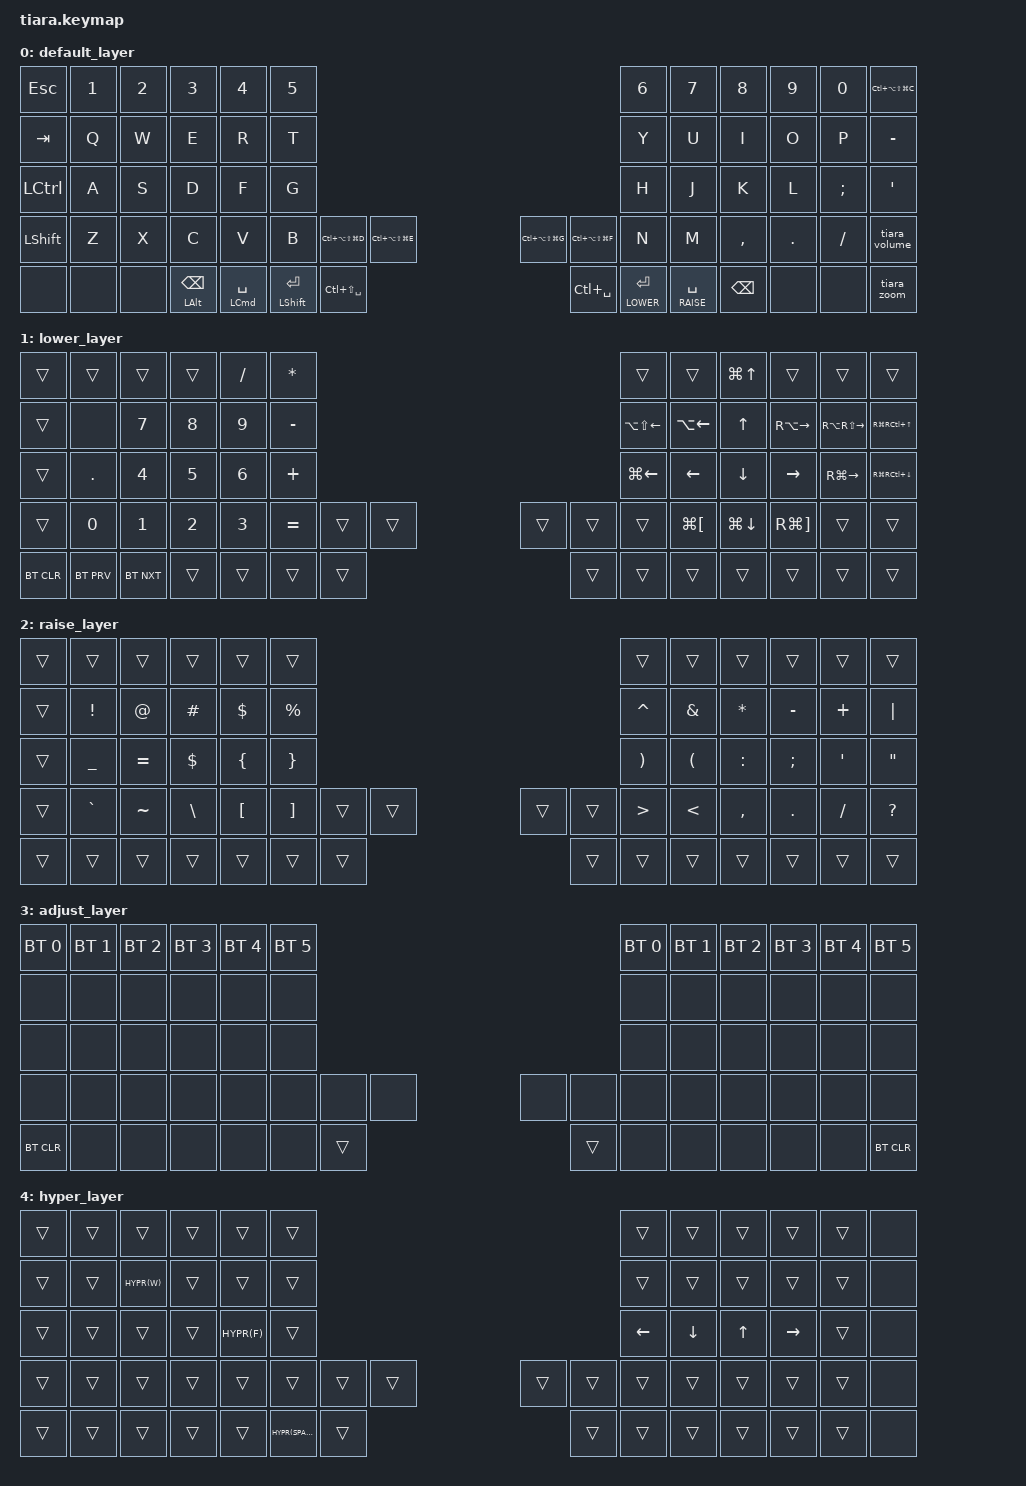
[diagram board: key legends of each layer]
/*
 * Copyright (c) 2020 The ZMK Contributors
 *
 * SPDX-License-Identifier: MIT
 */

#include <behaviors.dtsi>
#include <dt-bindings/zmk/keys.h>
#include <dt-bindings/zmk/outputs.h>
#include <dt-bindings/zmk/bt.h>

#define DEFAULT 0
#define LOWER   1
#define RAISE   2
#define ADJUST  3
#define HYPER   4

#define HYPR(KC) LC(LS(LA(LG(KC))))

/ {

        conditional_layers {
                compatible = "zmk,conditional-layers";

                tri_layer {
                        if-layers  = <1 2>;
                        then-layer = <3>;
                };
        };


        behaviors {
            tiara_zoom: tiara_zoom_in_and_out {
                compatible = "zmk,behavior-mod-morph";
                label = "TIARA_ZOOM_IN_AND_OUT";
                #binding-cells = <0>;
                bindings = <&kp LG(EQUAL)>, <&kp LG(MINUS)>;
                mods = <(MOD_LGUI|MOD_RGUI)>;
            };
            tiara_volume: tiara_volume_in_and_out {
                compatible = "zmk,behavior-mod-morph";
                label = "TIARA_VOLUME_IN_AND_OUT";
                #binding-cells = <0>;
                bindings = <&kp LC(LA(LS(LG(A))))>, <&kp LC(LA(LS(LG(B))))>;
                mods = <(MOD_LGUI|MOD_RGUI)>;
            };
        };

        keymap {
                compatible = "zmk,keymap";

                default_layer {
/* QWERTY
 * .----------------------------------------------------------------------------------------------------------------------------------.
 * | ESC  |   1  |   2  |   3  |   4  |   5  |                                              |   6  |   7  |   8  |   9  |   0  | Pause|
 * |-------------+------+------+------+------+------+------+-------+-+-------+-------+------+------+------+------+------+------+------|
 * | Tab  |   Q  |   W  |   E  |   R  |   T  |                                              |   Y  |   U  |   I  |   O  |   P  |  -   |
 * |-------------+------+------+------+------+------+------+-------+-+-------+-------+------+------+------+------+------+------+------|
 * | Ctrl |   A  |   S  |   D  |   F  |   G  |                                              |   H  |   J  |   K  |   L  |   ;  |  '   |
 * |-------------+------+------+------+------+------+------+-------+-+-------+-------+------+------+------+------+------+------+------|
 * | Zoom |   Z  |   X  |   C  |   V  |   B  |      | Act1 | Act2  | | Act4  | Act3  |      |   N  |   M  |   ,  |   .  |   /  | Vol  |
 * |-------------+------+------+------+------+------+------+-------+-+-------+-------+------+------+------+------+------+------+------|
 * |      |      |      |             |      | CMD  | Shift| Side  | |       | Lower | Raise|      |             |      |      |      |
 * |      |      |      |             |      | Space| Enter| Alfred| | Alfred| Enter | Space|      |             |      |      |      |
 * .----------------------------------------------------------------------------------------------------------------------------------.
 */
                        bindings = <
&kp ESC    &kp N1  &kp N2  &kp N3  &kp N4  &kp N5                                                                                                               &kp N6  &kp N7  &kp N8     &kp N9   &kp N0     &kp LC(LA(LS(LG(C))))
&kp TAB    &kp Q   &kp W   &kp E   &kp R   &kp T                                                                                                                &kp Y   &kp U   &kp I      &kp O    &kp P      &kp MINUS
&kp LCTRL  &kp A   &kp S   &kp D   &kp F   &kp G                                                                                                                &kp H   &kp J   &kp K      &kp L    &kp SEMI   &kp SQT
&kp LSHFT  &kp Z   &kp X   &kp C   &kp V   &kp B                   &kp LC(LA(LS(LG(D))))  &kp LC(LA(LS(LG(E))))   &kp LC(LA(LS(LG(G))))  &kp LC(LA(LS(LG(F))))  &kp N   &kp M   &kp COMMA  &kp DOT  &kp SLASH  &tiara_volume
&none      &none   &none   &mt LALT BSPC           &mt LCMD SPACE  &mt LSHFT ENTER        &kp LC(LS(SPACE))       &kp LC(SPACE)          &lt LOWER ENTER        &lt RAISE SPACE &kp BSPC   &none    &none      &tiara_zoom
                        >;
                };

                lower_layer {
/* QWERTY
 * .----------------------------------------------------------------------------------------------------------------------------------.
 * |      |      |      |      |   /  |   *  |                                              |      |      | Top  |      |      |      |
 * |      |      |      |      |      |      |                                              |      |      |      |      |      |      |
 * |-------------+------+------+------+------+------+------+-------+-+-------+-------+------+------+------+------+------+------+------|
 * |      |      |   7  |   8  |   9  |   -  |                                              |HLWord| Word | Up   | Word |HLWord|MVLine|
 * |      |      |      |      |      |      |                                              | Left | Left |      | Right| Right| Up   |
 * |-------------+------+------+------+------+------+------+-------+-+-------+-------+------+------+------+------+------+------+------|
 * |      |   .  |   4  |   5  |   6  |   +  |                                              | Line | Right| Down | Left | Line |MVLine|
 * |      |      |      |      |      |      |                                              | Begin|      |      |      | End  | Down |
 * |-------------+------+------+------+------+------+------+-------+-+-------+-------+------+------+------+------+------+------+------|
 * |      |   0  |   1  |   2  |   3  |   =  |      |      |       | |       |       |      |      |MVLine|Bottom|MVLine|      |      |
 * |      |      |      |      |      |      |                                              |      | Left |      | Right|      |      |
 * |-------------+------+------+------+------+------+------+-------+-+-------+-------+------+------+------+------+------+------+------|
 * |      |      |      |      |             |      |      |       | |       |       |      |             |      |      |      |      |
 * .----------------------------------------------------------------------------------------------------------------------------------.
 */
                        bindings = <
&trans      &trans      &trans      &trans  &kp FSLH  &kp ASTRK                                                    &trans            &trans        &kp LG(UP)    &trans        &trans            &trans
&trans      &none       &kp N7      &kp N8  &kp N9    &kp MINUS                                                    &kp LA(LS(LEFT))  &kp LA(LEFT)  &kp UP        &kp RA(RIGHT)  &kp RA(RS(RIGHT))  &kp RG(RC(UP))
&trans      &kp DOT     &kp N4      &kp N5  &kp N6    &kp PLUS                                                     &kp LG(LEFT)      &kp LEFT      &kp DOWN      &kp RIGHT     &kp RG(RIGHT)     &kp RG(RC(DOWN))
&trans      &kp N0      &kp N1      &kp N2  &kp N3    &kp EQUAL          &trans  &trans    &trans  &trans          &trans            &kp LG(LBKT)  &kp LG(DOWN)  &kp RG(RBKT)  &trans            &trans
&bt BT_CLR  &bt BT_PRV  &bt BT_NXT  &trans                       &trans  &trans  &trans    &trans  &trans  &trans                                  &trans        &trans        &trans            &trans
                        >;
                };

                raise_layer {
/* QWERTY
 * .----------------------------------------------------------------------------------------------------------------------------------.
 * |      |      |      |      |      |      |                                              |      |      |      |      |      |      |
 * |      |      |      |      |      |      |                                              |      |      |      |      |      |      |
 * |-------------+------+------+------+------+------+------+-------+-+-------+-------+------+------+------+------+------+------+------|
 * |      |   !  |   @  |   #  |   $  |   %  |                                              |   ^  |   &  |   *  |   -  |   +  |   |  |
 * |      |      |      |      |      |      |                                              |      |      |      |      |      |      |
 * |-------------+------+------+------+------+------+------+-------+-+-------+-------+------+------+------+------+------+------+------|
 * |      |   _  |   =  |   $  |   {  |   }  |                                              |   )  |   (  |   :  |  ;   |   '  |   "  |
 * |      |      |      |      |      |      |                                              |      |      |      |      |      |      |
 * |-------------+------+------+------+------+------+------+-------+-+-------+-------+------+------+------+------+------+------+------|
 * |      |   `  |   ~  |   \  |   [  |   ]  |      |      |       | |       |       |      |   >  |   <  |   ,  |   .  |   /  |   ?  |
 * |      |      |      |      |      |      |      |      |       | |       |       |      |      |      |      |      |      |      |
 * |-------------+------+------+------+------+------+------+-------+-+-------+-------+------+------+------+------+------+------+------|
 * |      |      |      |             |      |      |      |       | |       |       |      |      |             |      |      |      |
 * |      |      |      |             |      |      |      |       | |       |       |      |      |             |      |      |      |
 * .----------------------------------------------------------------------------------------------------------------------------------.
 */
                        bindings = <
&trans  &trans       &trans       &trans     &trans     &trans                                                                        &trans     &trans     &trans      &trans     &trans       &trans
&trans  &kp EXCL     &kp AT       &kp POUND  &kp DLLR   &kp PRCNT                                                                     &kp CARET  &kp AMPS   &kp ASTRK   &kp MINUS  &kp PLUS     &kp PIPE
&trans  &kp UNDER    &kp EQUAL    &kp DLLR   &kp LBRC   &kp RBRC                                                                      &kp RPAR   &kp LPAR   &kp COLON   &kp SEMI   &kp SQT      &kp DQT
&trans  &kp GRAVE    &kp TILDE    &kp BSLH   &kp LBKT   &kp RBKT             &trans      &trans        &trans      &trans             &kp GT     &kp LT     &kp COMMA   &kp DOT    &kp SLASH    &kp QMARK
&trans  &trans       &trans       &trans                           &trans    &trans      &trans        &trans      &trans    &trans                         &trans      &trans     &trans       &trans
                        >;
                };

                adjust_layer {
/* QWERTY
 * .----------------------------------------------------------------------------------------------------------------------------------.
 * |      |      |      |      |      |      |                                              |      |      |      |      |      |      |
 * |      |      |      |      |      |      |                                              |      |      |      |      |      |      |
 * |-------------+------+------+------+------+------+------+-------+-+-------+-------+------+------+------+------+------+------+------|
 * |      |      |      |      |      |      |                                              |      |      |      |      |      |      |
 * |      |      |      |      |      |      |                                              |      |      |      |      |      |      |
 * |-------------+------+------+------+------+------+------+-------+-+-------+-------+------+------+------+------+------+------+------|
 * |      |      |      |      |      |      |                                              |      |      |      |      |      |      |
 * |      |      |      |      |      |      |                                              |      |      |      |      |      |      |
 * |-------------+------+------+------+------+------+------+-------+-+-------+-------+------+------+------+------+------+------+------|
 * |      |      |      |      |      |      |      |      |       | |       |       |      |      |      |      |      |      |      |
 * |      |      |      |      |      |      |      |      |       | |       |       |      |      |      |      |      |      |      |
 * |-------------+------+------+------+------+------+------+-------+-+-------+-------+------+------+------+------+------+------+------|
 * |      |      |      |             |      |      |      |       | |       |       |      |      |             |      |      |      |
 * |      |      |      |             |      |      |      |       | |       |       |      |      |             |      |      |      |
 * .----------------------------------------------------------------------------------------------------------------------------------.
 */
                        bindings = <
&bt BT_SEL 0 &bt BT_SEL 1 &bt BT_SEL 2 &bt BT_SEL 3 &bt BT_SEL 4 &bt BT_SEL 5                                                                          &bt BT_SEL 0 &bt BT_SEL 1 &bt BT_SEL 2 &bt BT_SEL 3 &bt BT_SEL 4 &bt BT_SEL 5
&none        &none        &none        &none        &none        &none                                                                                 &none        &none        &none        &none        &none        &none
&none        &none        &none        &none        &none        &none                                                                                 &none        &none        &none        &none        &none        &none
&none        &none        &none        &none        &none        &none                     &none       &none         &none       &none                 &none        &none        &none        &none        &none        &none
&bt BT_CLR   &none        &none        &none                                     &none     &none       &trans        &trans      &none     &none                                 &none        &none        &none        &bt BT_CLR
                        >;
                };

                hyper_layer {
/* QWERTY
 * .----------------------------------------------------------------------------------------------------------------------------------.
 * |      |      |      |      |      |      |                                              |      |      |      |      |      |      |
 * |      |      |      |      |      |      |                                              |      |      |      |      |      |      |
 * |-------------+------+------+------+------+------+------+-------+-+-------+-------+------+------+------+------+------+------+------|
 * |      |      |      |      |      |      |                                              |      |      |      |      |      |      |
 * |      |      |      |      |      |      |                                              |      |      |      |      |      |      |
 * |-------------+------+------+------+------+------+------+-------+-+-------+-------+------+------+------+------+------+------+------|
 * |      |      |      |      |      |      |                                              |      |      |      |      |      |      |
 * |      |      |      |      |      |      |                                              |      |      |      |      |      |      |
 * |-------------+------+------+------+------+------+------+-------+-+-------+-------+------+------+------+------+------+------+------|
 * |      |      |      |      |      |      |      |      |       | |       |       |      |      |      |      |      |      |      |
 * |      |      |      |      |      |      |      |      |       | |       |       |      |      |      |      |      |      |      |
 * |-------------+------+------+------+------+------+------+-------+-+-------+-------+------+------+------+------+------+------+------|
 * |      |      |      |             |      |      |      |       | |       |       |      |      |             |      |      |      |
 * |      |      |      |             |      |      |      |       | |       |       |      |      |             |      |      |      |
 * .----------------------------------------------------------------------------------------------------------------------------------.
 */
                        bindings = <
&trans        &trans     &trans      &trans      &trans      &trans                                                                         &trans   &trans     &trans      &trans     &trans        &none
&trans        &trans     &kp HYPR(W) &trans      &trans      &trans                                                                         &trans   &trans     &trans      &trans     &trans        &none
&trans        &trans     &trans      &trans      &kp HYPR(F) &trans                                                                         &kp LEFT &kp DOWN   &kp UP      &kp RIGHT  &trans        &none
&trans        &trans     &trans      &trans      &trans      &trans             &trans      &trans        &trans      &trans                &trans   &trans     &trans      &trans     &trans        &none
&trans        &trans     &trans      &trans                           &trans    &kp HYPR(SPACE)       &trans        &trans      &trans    &trans                          &trans      &trans     &trans        &none
                        >;
                };
        };
};
